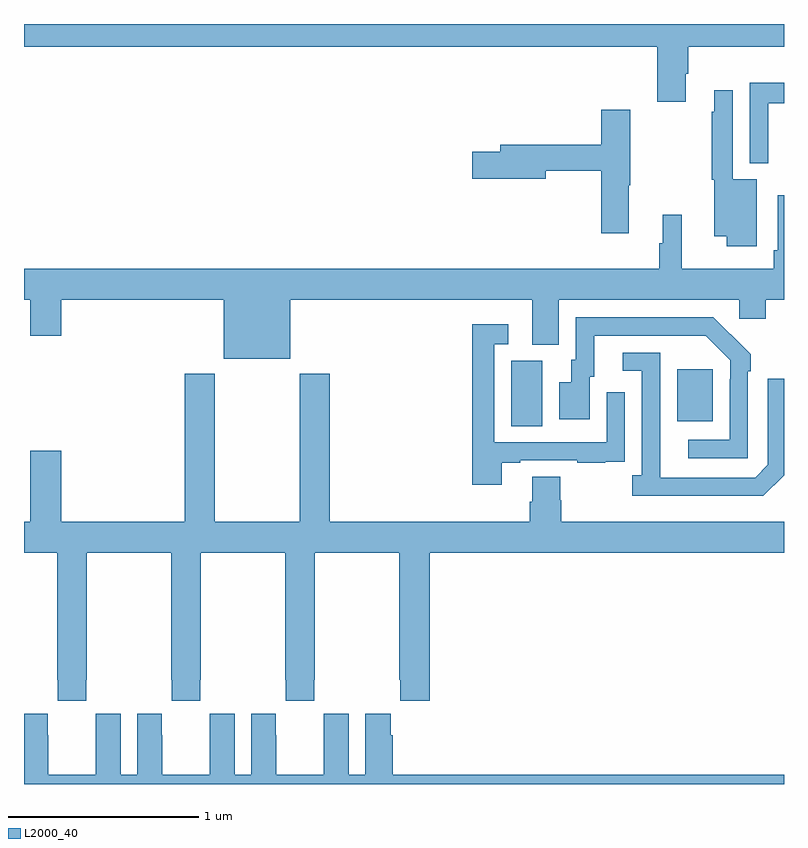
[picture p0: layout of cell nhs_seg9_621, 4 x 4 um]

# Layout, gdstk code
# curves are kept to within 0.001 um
import gdstk
lib = gdstk.Library(unit=1e-6, precision=1e-09)
def R(c, l, rs):  # rectangles x0, y0, x1, y1
    for r in rs: c.add(gdstk.rectangle(r[:2], r[2:], *l))
def P(c, l, *ps):  # polygons
    for p in ps: c.add(gdstk.Polygon(p, *l))
L2000_40 = (2000, 40)

nhs_seg9_621 = lib.new_cell('nhs_seg9_621')
R(nhs_seg9_621, L2000_40, [(143.564,1234.384,143.728,1234.728), (144.437,1234.409,144.625,1234.684)])
P(nhs_seg9_621, L2000_40, [(144.484,1236.238),(144.497,1236.238),(144.497,1236.38),(145,1236.38),(145,1236.5),(141,1236.5),(141,1236.38),(144.332,1236.38),(144.332,1236.09),(144.484,1236.09)],
  [(144.916,1236.084),(145,1236.084),(145,1236.192),(144.819,1236.192),(144.819,1235.768),(144.916,1235.768)],
  [(144.856,1235.683),(144.729,1235.683),(144.729,1236.151),(144.632,1236.151),(144.632,1236.038),(144.621,1236.038),(144.621,1235.679),(144.632,1235.679),(144.632,1235.384),(144.698,1235.384),(144.698,1235.331),(144.856,1235.331)],
  [(144.184,1235.651),(144.192,1235.651),(144.192,1236.049),(144.038,1236.049),(144.038,1235.864),(143.507,1235.864),(143.507,1235.828),(143.358,1235.828),(143.358,1235.686),(143.746,1235.686),(143.746,1235.728),(144.038,1235.728),(144.038,1235.4),(144.184,1235.4)],
  [(142.402,1235.048),(143.675,1235.048),(143.675,1234.813),(143.815,1234.813),(143.815,1235.048),(144.765,1235.048),(144.765,1234.95),(144.904,1234.95),(144.904,1235.048),(145,1235.048),(145,1235.599),(144.966,1235.599),(144.966,1235.308),(144.946,1235.308),(144.946,1235.212),(144.462,1235.212),(144.462,1235.497),(144.362,1235.497),(144.362,1235.346),(144.343,1235.346),(144.343,1235.212),(141,1235.212),(141,1235.048),(141.032,1235.048),(141.032,1234.86),(141.196,1234.86),(141.196,1235.048),(142.052,1235.048),(142.052,1234.739),(142.402,1234.739)],
  [(144.81,1234.673),(144.825,1234.673),(144.825,1234.761),(144.628,1234.956),(143.904,1234.956),(143.904,1234.734),(143.879,1234.734),(143.879,1234.615),(143.816,1234.615),(143.816,1234.419),(143.977,1234.419),(143.977,1234.644),(144.001,1234.644),(144.001,1234.86),(144.589,1234.86),(144.717,1234.731),(144.717,1234.631),(144.714,1234.631),(144.714,1234.311),(144.495,1234.311),(144.495,1234.215),(144.81,1234.215)],
  [(143.515,1234.191),(143.611,1234.191),(143.611,1234.203),(143.911,1234.203),(143.911,1234.191),(144.059,1234.191),(144.059,1234.197),(144.161,1234.197),(144.161,1234.306),(144.162,1234.306),(144.162,1234.561),(144.066,1234.561),(144.066,1234.299),(143.475,1234.299),(143.475,1234.815),(143.548,1234.815),(143.548,1234.921),(143.359,1234.921),(143.359,1234.074),(143.515,1234.074)],
  [(145,1234.126),(145,1234.633),(144.915,1234.633),(144.915,1234.179),(144.849,1234.113),(144.349,1234.113),(144.348,1234.77),(144.15,1234.77),(144.15,1234.674),(144.252,1234.674),(144.252,1234.126),(144.201,1234.126),(144.201,1234.016),(144.89,1234.016)],
  [(141.327,1233.049),(141.33,1233.049),(141.33,1233.716),(141.775,1233.716),(141.775,1233.049),(141.777,1233.049),(141.777,1232.937),(141.927,1232.937),(141.927,1233.049),(141.93,1233.049),(141.93,1233.716),(142.375,1233.716),(142.375,1233.049),(142.377,1233.049),(142.377,1232.937),(142.527,1232.937),(142.527,1233.049),(142.53,1233.049),(142.53,1233.716),(142.975,1233.716),(142.975,1233.049),(142.981,1233.049),(142.981,1232.937),(143.135,1232.937),(143.135,1233.716),(145,1233.716),(145,1233.88),(143.828,1233.88),(143.828,1233.993),(143.823,1233.993),(143.823,1234.118),(143.675,1234.118),(143.675,1233.986),(143.663,1233.986),(143.663,1233.88),(142.61,1233.88),(142.61,1234.66),(142.45,1234.66),(142.45,1233.88),(142.005,1233.88),(142.005,1234.66),(141.845,1234.66),(141.845,1233.88),(141.196,1233.88),(141.196,1234.255),(141.032,1234.255),(141.032,1233.88),(141,1233.88),(141,1233.716),(141.175,1233.716),(141.175,1233.049),(141.177,1233.049),(141.177,1232.937),(141.327,1232.937)],
  [(145,1232.548),(142.94,1232.548),(142.94,1232.756),(142.93,1232.756),(142.93,1232.869),(142.796,1232.869),(142.796,1232.548),(142.708,1232.548),(142.708,1232.869),(142.578,1232.869),(142.578,1232.756),(142.577,1232.756),(142.577,1232.548),(142.327,1232.548),(142.327,1232.756),(142.326,1232.756),(142.326,1232.869),(142.196,1232.869),(142.196,1232.548),(142.108,1232.548),(142.108,1232.869),(141.978,1232.869),(141.978,1232.756),(141.977,1232.756),(141.977,1232.548),(141.727,1232.548),(141.727,1232.756),(141.726,1232.756),(141.726,1232.869),(141.596,1232.869),(141.596,1232.548),(141.508,1232.548),(141.508,1232.869),(141.378,1232.869),(141.378,1232.756),(141.377,1232.756),(141.377,1232.548),(141.127,1232.548),(141.127,1232.756),(141.126,1232.756),(141.126,1232.869),(141,1232.869),(141,1232.5),(145,1232.5)])

lib.write_gds('nhs_seg9_621.gds')
